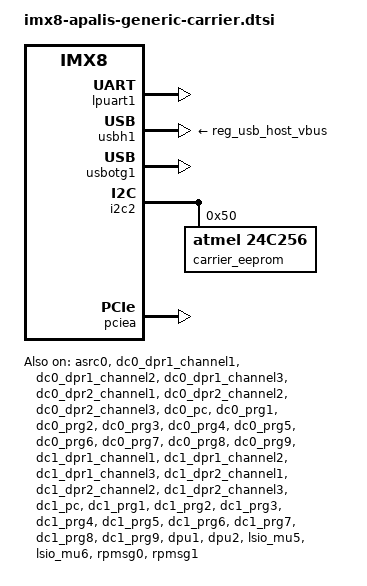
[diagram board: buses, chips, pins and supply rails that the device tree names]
// SPDX-License-Identifier: GPL-2.0-or-later OR MIT
/*
 * Copyright 2024 Refeyn
 */

// Common carrier functions

/ {
    reg_usb_host_vbus: regulator-usb-host-vbus {
        regulator-name = "VCC_USBH(2|4)";
    };

    // RPmsg bus
    reserved-memory {
        #address-cells = <2>;
        #size-cells = <2>;
        ranges;

        vdev0vring0: vdev0vring0@90000000 {
            reg = <0 0x90000000 0 0x8000>;
            no-map;
        };

        vdev0vring1: vdev0vring1@90008000 {
            reg = <0 0x90008000 0 0x8000>;
            no-map;
        };

        vdev1vring0: vdev1vring0@90010000 {
            reg = <0 0x90010000 0 0x8000>;
            no-map;
        };

        vdev1vring1: vdev1vring1@90018000 {
            reg = <0 0x90018000 0 0x8000>;
            no-map;
        };

        rsc_table0: rsc-table@900ff000 {
            reg = <0 0x900ff000 0 0x1000>;
            no-map;
        };

        vdev2vring0: vdev0vring0@90100000 {
            reg = <0 0x90100000 0 0x8000>;
            no-map;
        };

        vdev2vring1: vdev0vring1@90108000 {
            reg = <0 0x90108000 0 0x8000>;
            no-map;
        };

        vdev3vring0: vdev1vring0@90110000 {
            reg = <0 0x90110000 0 0x8000>;
            no-map;
        };

        vdev3vring1: vdev1vring1@90118000 {
            reg = <0 0x90118000 0 0x8000>;
            no-map;
        };

        rsc_table1: rsc-table@901ff000 {
            reg = <0 0x901ff000 0 0x1000>;
            no-map;
        };
    };

    // M4 core communication
    rpmsg0: rpmsg@0 {
        compatible = "fsl,imx8qm-rpmsg";
        mbox-names = "tx", "rx", "rxdb";
        mboxes = <&lsio_mu5 0 1
                &lsio_mu5 1 1
                &lsio_mu5 3 1>;
        mub-partition = <3>;
        vdev-nums = <2>;
        reg = <0 0x90000000 0 0x20000>;
        memory-region = <&vdevbuffer>, <&vdev0vring0>, <&vdev0vring1>,
                    <&vdev1vring0>, <&vdev1vring1>;
        status = "okay";
    };

    rpmsg1: rpmsg@1 {
        compatible = "fsl,imx8qm-rpmsg";
        mbox-names = "tx", "rx", "rxdb";
        mboxes = <&lsio_mu6 0 1
                &lsio_mu6 1 1
                &lsio_mu6 3 1>;
        mub-partition = <4>;
        vdev-nums = <2>;
        reg = <0 0x90100000 0 0x20000>;
        memory-region = <&vdevbuffer>, <&vdev2vring0>, <&vdev2vring1>,
                    <&vdev3vring0>, <&vdev3vring1>;
        status = "okay";
    };
};

/* Apalis UART1 */
&lpuart1 {
    status = "okay";
};

/* Apalis USBH2, Apalis USBH3 and on-module Wi-Fi via on-module HSIC Hub */
&usbh1 {
    vbus-supply = <&reg_usb_host_vbus>;
    status = "okay";
};

/* Apalis USBO1 */
&usbotg1 {
    status = "okay";
};

/* Apalis I2C1 */
&i2c2 {
	status = "okay";

	carrier_eeprom: carrier-eeprom@50 {
        compatible = "atmel,24c256";
        reg = <0x50>;
	};
};

&gpio_fan {
    status = "disabled";
};

&reg_pcie_switch {
    /delete-property/ pinctrl-0;
};

// Random image and audio processing

&asrc0 {
	status = "okay";
};

&dc0_dpr1_channel1 {
	status = "okay";
};

&dc0_dpr1_channel2 {
	status = "okay";
};

&dc0_dpr1_channel3 {
	status = "okay";
};

&dc0_dpr2_channel1 {
	status = "okay";
};

&dc0_dpr2_channel2 {
	status = "okay";
};

&dc0_dpr2_channel3 {
	status = "okay";
};

&dc0_pc {
	status = "okay";
};

&dc0_prg1 {
	status = "okay";
};

&dc0_prg2 {
	status = "okay";
};

&dc0_prg3 {
	status = "okay";
};

&dc0_prg4 {
	status = "okay";
};

&dc0_prg5 {
	status = "okay";
};

&dc0_prg6 {
	status = "okay";
};

&dc0_prg7 {
	status = "okay";
};

&dc0_prg8 {
	status = "okay";
};

&dc0_prg9 {
	status = "okay";
};

&dc1_dpr1_channel1 {
	status = "okay";
};

&dc1_dpr1_channel2 {
	status = "okay";
};

&dc1_dpr1_channel3 {
	status = "okay";
};

&dc1_dpr2_channel1 {
	status = "okay";
};

&dc1_dpr2_channel2 {
	status = "okay";
};

&dc1_dpr2_channel3 {
	status = "okay";
};

&dc1_pc {
	status = "okay";
};

&dc1_prg1 {
	status = "okay";
};

&dc1_prg2 {
	status = "okay";
};

&dc1_prg3 {
	status = "okay";
};

&dc1_prg4 {
	status = "okay";
};

&dc1_prg5 {
	status = "okay";
};

&dc1_prg6 {
	status = "okay";
};

&dc1_prg7 {
	status = "okay";
};

&dc1_prg8 {
	status = "okay";
};

&dc1_prg9 {
	status = "okay";
};

&dpu1 {
	status = "okay";
};

&dpu2 {
	status = "okay";
};

// M4 stuff

&lsio_mu5 {
    status = "okay";
};

&lsio_mu6 {
    status = "okay";
};

// Need to enable PCIEa to keep PCIEb happy

/* Apalis PCIE1 */
&pciea {
    status = "okay";
};
